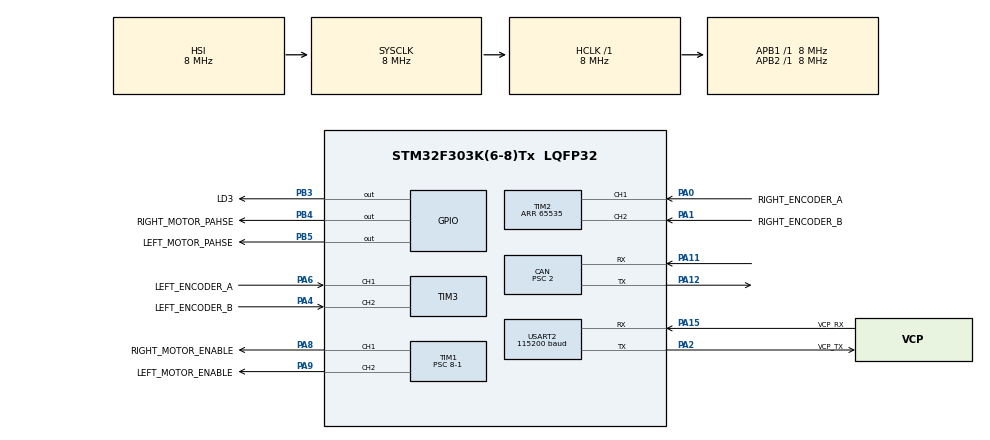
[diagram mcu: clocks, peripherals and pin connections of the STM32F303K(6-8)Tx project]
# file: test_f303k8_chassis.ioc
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Mcu.Family=STM32F3
RCC.CortexFreq_Value=8000000
PF0\ /\ OSC_IN.Mode=HSE-External-Clock-Source
NVIC.CAN_RX0_IRQn=true\:0\:0\:false\:false\:true\:true\:true
PA14.GPIO_Label=SWCLK
PA0.GPIO_Label=RIGHT_ENCODER_A
PA11.Mode=CAN_Activate
PA6.GPIO_Label=LEFT_ENCODER_A
ProjectManager.StackSize=0x400
PA15.GPIO_Label=VCP_RX
PA12.Signal=CAN_TX
CAN.Prescaler=2
TIM1.Prescaler=8-1
TIM15.Prescaler=8-1
RCC.AHBFreq_Value=8000000
RCC.HSE_VALUE=8000000
USART2.VirtualMode-Asynchronous=VM_ASYNC
PA15.Mode=Asynchronous
TIM15.Period=1000-1
TIM1.Channel-PWM\ Generation1\ CH1=TIM_CHANNEL_1
PA14.Mode=Serial_Wire
PF0\ /\ OSC_IN.GPIO_Label=MCO
PA8.Signal=S_TIM1_CH1
SH.S_TIM3_CH1.0=TIM3_CH1,Encoder_Interface
CAN.CalculateTimeQuantum=250.0
VP_TIM1_VS_ClockSourceINT.Mode=Internal
PA0.Signal=S_TIM2_CH1_ETR
Mcu.Package=LQFP32
PA6.Signal=S_TIM3_CH1
PA2.GPIO_Label=VCP_TX
PA15.Signal=USART2_RX
PB5.GPIO_Label=LEFT_MOTOR_PAHSE
TIM1.Period=1000-1
PA4.GPIO_Label=LEFT_ENCODER_B
PB4.Signal=GPIO_Output
PB3.GPIO_Label=LD3
CAN.CalculateBaudRate=400000
PA9.GPIO_Label=LEFT_MOTOR_ENABLE
USART2.BaudRate=115200
CAN.CalculateTimeBit=2500.00
PA13.Signal=SYS_JTMS-SWDIO
SH.S_TIM2_CH2.0=TIM2_CH2,Encoder_Interface
CAN.BS2=CAN_BS2_2TQ
PA8.GPIO_Label=RIGHT_MOTOR_ENABLE
CAN.BS1=CAN_BS1_7TQ
SH.S_TIM1_CH1.0=TIM1_CH1,PWM Generation1 CH1
ProjectManager.TargetToolchain=STM32CubeIDE
PA9.Signal=S_TIM1_CH2
TIM1.Channel-PWM\ Generation2\ CH2=TIM_CHANNEL_2
PA1.Signal=S_TIM2_CH2
SH.S_TIM3_CH2.0=TIM3_CH2,Encoder_Interface
NVIC.TIM1_BRK_TIM15_IRQn=true\:0\:0\:false\:false\:true\:true\:true
board=NUCLEO-F303K8
RCC.APB2Freq_Value=8000000
PF0\ /\ OSC_IN.Signal=RCC_OSC_IN
PB4.GPIO_Label=RIGHT_MOTOR_PAHSE
SH.S_TIM1_CH2.0=TIM1_CH2,PWM Generation2 CH2
PA1.GPIO_Label=RIGHT_ENCODER_B
TIM2.Period=65535
PA13.Mode=Serial_Wire
Mcu.Name=STM32F303K(6-8)Tx
PA13.GPIO_Label=SWDIO
PA2.Signal=USART2_TX
PB3.Signal=GPIO_Output
PA4.Signal=S_TIM3_CH2
RCC.SYSCLKFreq_VALUE=8000000
PB5.Signal=GPIO_Output
PA12.Mode=CAN_Activate
PA11.Signal=CAN_RX
SH.S_TIM2_CH1_ETR.0=TIM2_CH1,Encoder_Interface
VP_TIM15_VS_ClockSourceINT.Mode=Internal
PA14.Signal=SYS_JTCK-SWCLK
ProjectManager.HeapSize=0x200
RCC.HSI_VALUE=8000000
NVIC.PriorityGroup=NVIC_PRIORITYGROUP_4
PA2.Mode=Asynchronous
RCC.APB1Freq_Value=8000000

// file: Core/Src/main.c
/* USER CODE BEGIN Header */
/**
  ******************************************************************************
  * @file           : main.c
  * @brief          : Main program body
  ******************************************************************************
  * @attention
  *
  * <h2><center>&copy; Copyright (c) 2024 STMicroelectronics.
  * All rights reserved.</center></h2>
  *
  * This software component is licensed by ST under BSD 3-Clause license,
  * the "License"; You may not use this file except in compliance with the
  * License. You may obtain a copy of the License at:
  *                        opensource.org/licenses/BSD-3-Clause
  *
  ******************************************************************************
  */
/* USER CODE END Header */
#include "main.h"

/* USER CODE BEGIN Includes */
#include <stdio.h>
#include <stdlib.h>
#include <string.h>
/* USER CODE END Includes */

CAN_HandleTypeDef hcan;

TIM_HandleTypeDef htim1;
TIM_HandleTypeDef htim2;
TIM_HandleTypeDef htim3;
TIM_HandleTypeDef htim15;

UART_HandleTypeDef huart2;

/* USER CODE BEGIN PV */
uint16_t motor_count = 0;
uint16_t encoder_count = 0;
float cmd_vel[2]; // right_back, left_back

/* USER CODE END PV */

void SystemClock_Config(void);
static void MX_GPIO_Init(void);
static void MX_USART2_UART_Init(void);
static void MX_CAN_Init(void);
static void MX_TIM1_Init(void);
static void MX_TIM2_Init(void);
static void MX_TIM3_Init(void);
static void MX_TIM15_Init(void);

/* USER CODE BEGIN 0 */
void HAL_CAN_RxFifo0MsgPendingCallback(CAN_HandleTypeDef *hcan)
{
  CAN_RxHeaderTypeDef RxHeader;
  uint8_t RxData[8];
  if (HAL_CAN_GetRxMessage(hcan, CAN_RX_FIFO0, &RxHeader, RxData) == HAL_OK)
  {
    // printf("id=%#x, [0]=%#x, [1]=%#x, [2]=%#x, [3]=%#x, [4]=%#x, [5]=%#x, [6]=%#x, [7]=%#x\r\n",
    //   RxHeader.StdId, RxData[0], RxData[1], RxData[2], RxData[3], RxData[4], RxData[5], RxData[6], RxData[7]);

    if (RxHeader.StdId == 0x711)
    {
      HAL_GPIO_TogglePin(LD3_GPIO_Port, LD3_Pin);
      union {
          float f;
          int32_t ui;
      } data;
      data.ui = (int32_t) (
            (((int32_t)RxData[0] << 24) & 0xFF000000)
          | (((int32_t)RxData[1] << 16) & 0x00FF0000)
          | (((int32_t)RxData[2] <<  8) & 0x0000FF00)
          | (((int32_t)RxData[3] <<  0) & 0x000000FF)
      );
      cmd_vel[0] = data.f;
      data.ui = (int32_t) (
            (((int32_t)RxData[4] << 24) & 0xFF000000)
          | (((int32_t)RxData[5] << 16) & 0x00FF0000)
          | (((int32_t)RxData[6] <<  8) & 0x0000FF00)
          | (((int32_t)RxData[7] <<  0) & 0x000000FF)
      );
      cmd_vel[1] = data.f;

      // printf("cmd_vel: [0]=%f, [1]=%f\r\n", cmd_vel[0], cmd_vel[1]);
    }
  }
}

int16_t read_tim2_encoder_value()
{
  uint16_t enc_buff = TIM2->CNT;
  int16_t enc_count = (int16_t)enc_buff - 32767;
  TIM2->CNT = 32767;
  return enc_count;
}

int16_t read_tim3_encoder_value()
{
  uint16_t enc_buff = TIM3->CNT;
  int16_t enc_count = (int16_t)enc_buff - 32767;
  TIM3->CNT = 32767;
  return enc_count;
}

void HAL_TIM_PeriodElapsedCallback(TIM_HandleTypeDef *htim)
{
  if (htim == &htim15)
  {
    // ---encoder
    encoder_count++;
    if (encoder_count > 200) // 5Hz
    {
      encoder_count = 0;
      int16_t encoder_value;
      encoder_value = read_tim2_encoder_value();
      // printf("enc_buff: %d\r\n", encoder_value);
      printf("right_front_vel(deg/s): %f\r\n", (float)encoder_value * 1.20321); // 1:34
      encoder_value = read_tim3_encoder_value();
      // printf("enc_buff: %d\r\n", encoder_value);
      printf("left_front_vel(deg/s): %f\r\n", (float)encoder_value * 1.20321); // 1:34
    }

    // ---motor
    motor_count++;
    if (motor_count > 50) // 20Hz
    {
      motor_count = 0;
      // right_back
      uint16_t right_output;
      if (cmd_vel[0] > 0)
      {
        right_output = (uint16_t)(30.0 * cmd_vel[0]);
        HAL_GPIO_WritePin(RIGHT_MOTOR_PAHSE_GPIO_Port, RIGHT_MOTOR_PAHSE_Pin, GPIO_PIN_SET);
      }
      else
      {
        right_output = (uint16_t)(-30.0 * cmd_vel[0]);
        HAL_GPIO_WritePin(RIGHT_MOTOR_PAHSE_GPIO_Port, RIGHT_MOTOR_PAHSE_Pin, GPIO_PIN_RESET);
      }
      __HAL_TIM_SET_COMPARE(&htim1, TIM_CHANNEL_1, right_output);
      HAL_TIM_PWM_Start(&htim1, TIM_CHANNEL_1);
      printf("right_output: %d\r\n", right_output);

      // left_back
      uint16_t left_output;
      if (cmd_vel[1] > 0)
      {
        left_output = (uint16_t)(30.0 * cmd_vel[1]);
        HAL_GPIO_WritePin(LEFT_MOTOR_PAHSE_GPIO_Port, LEFT_MOTOR_PAHSE_Pin, GPIO_PIN_SET);
      }
      else
      {
        left_output = (uint16_t)(-30.0 * cmd_vel[1]);
        HAL_GPIO_WritePin(LEFT_MOTOR_PAHSE_GPIO_Port, LEFT_MOTOR_PAHSE_Pin, GPIO_PIN_RESET);
      }
      __HAL_TIM_SET_COMPARE(&htim1, TIM_CHANNEL_2, left_output);
      HAL_TIM_PWM_Start(&htim1, TIM_CHANNEL_2);
      printf("left_output: %d\r\n", left_output);
    }
  }
}

/* USER CODE END 0 */

int main(void)
{
  /* USER CODE BEGIN 1 */
  setbuf(stdout, NULL);
  /* USER CODE END 1 */

  /* MCU Configuration--------------------------------------------------------*/

  /* Reset of all peripherals, Initializes the Flash interface and the Systick. */
  HAL_Init();

  /* Configure the system clock */
  SystemClock_Config();

  /* Initialize all configured peripherals */
  MX_GPIO_Init();
  MX_USART2_UART_Init();
  MX_CAN_Init();
  MX_TIM1_Init();
  MX_TIM2_Init();
  MX_TIM3_Init();
  MX_TIM15_Init();
  /* USER CODE BEGIN 2 */
  HAL_TIM_Base_Start_IT(&htim15);
  HAL_TIM_Encoder_Start(&htim2, TIM_CHANNEL_ALL);
  HAL_TIM_Encoder_Start(&htim3, TIM_CHANNEL_ALL);
  HAL_CAN_Start(&hcan);
  if (HAL_CAN_ActivateNotification(&hcan, CAN_IT_RX_FIFO0_MSG_PENDING) != HAL_OK)
  {
    Error_Handler();
  }

  /* USER CODE END 2 */

  /* Infinite loop */
  while (1)
  {

    /* USER CODE BEGIN 3 */
    // printf("Hello!!\r\n");
    HAL_GPIO_TogglePin(LD3_GPIO_Port, LD3_Pin);
    HAL_Delay(50);
  }
  /* USER CODE END 3 */
}

void SystemClock_Config(void)
{
  RCC_OscInitTypeDef RCC_OscInitStruct = {0};
  RCC_ClkInitTypeDef RCC_ClkInitStruct = {0};
  RCC_PeriphCLKInitTypeDef PeriphClkInit = {0};

  /** Initializes the RCC Oscillators according to the specified parameters
  * in the RCC_OscInitTypeDef structure.
  */
  RCC_OscInitStruct.OscillatorType = RCC_OSCILLATORTYPE_HSI;
  RCC_OscInitStruct.HSIState = RCC_HSI_ON;
  RCC_OscInitStruct.HSICalibrationValue = RCC_HSICALIBRATION_DEFAULT;
  RCC_OscInitStruct.PLL.PLLState = RCC_PLL_NONE;
  if (HAL_RCC_OscConfig(&RCC_OscInitStruct) != HAL_OK)
  {
    Error_Handler();
  }
  /** Initializes the CPU, AHB and APB buses clocks
  */
  RCC_ClkInitStruct.ClockType = RCC_CLOCKTYPE_HCLK|RCC_CLOCKTYPE_SYSCLK
                              |RCC_CLOCKTYPE_PCLK1|RCC_CLOCKTYPE_PCLK2;
  RCC_ClkInitStruct.SYSCLKSource = RCC_SYSCLKSOURCE_HSI;
  RCC_ClkInitStruct.AHBCLKDivider = RCC_SYSCLK_DIV1;
  RCC_ClkInitStruct.APB1CLKDivider = RCC_HCLK_DIV1;
  RCC_ClkInitStruct.APB2CLKDivider = RCC_HCLK_DIV1;

  if (HAL_RCC_ClockConfig(&RCC_ClkInitStruct, FLASH_LATENCY_0) != HAL_OK)
  {
    Error_Handler();
  }
  PeriphClkInit.PeriphClockSelection = RCC_PERIPHCLK_TIM1;
  PeriphClkInit.Tim1ClockSelection = RCC_TIM1CLK_HCLK;
  if (HAL_RCCEx_PeriphCLKConfig(&PeriphClkInit) != HAL_OK)
  {
    Error_Handler();
  }
}

static void MX_CAN_Init(void)
{

  hcan.Instance = CAN;
  hcan.Init.Prescaler = 2;
  hcan.Init.Mode = CAN_MODE_NORMAL;
  hcan.Init.SyncJumpWidth = CAN_SJW_1TQ;
  hcan.Init.TimeSeg1 = CAN_BS1_7TQ;
  hcan.Init.TimeSeg2 = CAN_BS2_2TQ;
  hcan.Init.TimeTriggeredMode = DISABLE;
  hcan.Init.AutoBusOff = DISABLE;
  hcan.Init.AutoWakeUp = DISABLE;
  hcan.Init.AutoRetransmission = DISABLE;
  hcan.Init.ReceiveFifoLocked = DISABLE;
  hcan.Init.TransmitFifoPriority = DISABLE;
  if (HAL_CAN_Init(&hcan) != HAL_OK)
  {
    Error_Handler();
  }
  /* USER CODE BEGIN CAN_Init 2 */
  CAN_FilterTypeDef  filter;
  uint32_t fId = 0x710 << 21;
  uint32_t fMask = (0x7F0 << 21) | 0x4;

  filter.FilterIdHigh         = fId >> 16;
  filter.FilterIdLow          = fId;
  filter.FilterMaskIdHigh     = fMask >> 16;
  filter.FilterMaskIdLow      = fMask;
  filter.FilterScale          = CAN_FILTERSCALE_32BIT;
  filter.FilterFIFOAssignment = CAN_FILTER_FIFO0;
  filter.FilterBank           = 0;
  filter.FilterMode           = CAN_FILTERMODE_IDMASK;
  filter.SlaveStartFilterBank = 14;
  filter.FilterActivation     = ENABLE;

  if (HAL_CAN_ConfigFilter(&hcan, &filter) != HAL_OK)
  {
    Error_Handler();
  }
  /* USER CODE END CAN_Init 2 */

}

static void MX_TIM1_Init(void)
{

  TIM_ClockConfigTypeDef sClockSourceConfig = {0};
  TIM_MasterConfigTypeDef sMasterConfig = {0};
  TIM_OC_InitTypeDef sConfigOC = {0};
  TIM_BreakDeadTimeConfigTypeDef sBreakDeadTimeConfig = {0};

  htim1.Instance = TIM1;
  htim1.Init.Prescaler = 8-1;
  htim1.Init.CounterMode = TIM_COUNTERMODE_UP;
  htim1.Init.Period = 1000-1;
  htim1.Init.ClockDivision = TIM_CLOCKDIVISION_DIV1;
  htim1.Init.RepetitionCounter = 0;
  htim1.Init.AutoReloadPreload = TIM_AUTORELOAD_PRELOAD_DISABLE;
  if (HAL_TIM_Base_Init(&htim1) != HAL_OK)
  {
    Error_Handler();
  }
  sClockSourceConfig.ClockSource = TIM_CLOCKSOURCE_INTERNAL;
  if (HAL_TIM_ConfigClockSource(&htim1, &sClockSourceConfig) != HAL_OK)
  {
    Error_Handler();
  }
  if (HAL_TIM_PWM_Init(&htim1) != HAL_OK)
  {
    Error_Handler();
  }
  sMasterConfig.MasterOutputTrigger = TIM_TRGO_RESET;
  sMasterConfig.MasterOutputTrigger2 = TIM_TRGO2_RESET;
  sMasterConfig.MasterSlaveMode = TIM_MASTERSLAVEMODE_DISABLE;
  if (HAL_TIMEx_MasterConfigSynchronization(&htim1, &sMasterConfig) != HAL_OK)
  {
    Error_Handler();
  }
  sConfigOC.OCMode = TIM_OCMODE_PWM1;
  sConfigOC.Pulse = 0;
  sConfigOC.OCPolarity = TIM_OCPOLARITY_HIGH;
  sConfigOC.OCNPolarity = TIM_OCNPOLARITY_HIGH;
  sConfigOC.OCFastMode = TIM_OCFAST_DISABLE;
  sConfigOC.OCIdleState = TIM_OCIDLESTATE_RESET;
  sConfigOC.OCNIdleState = TIM_OCNIDLESTATE_RESET;
  if (HAL_TIM_PWM_ConfigChannel(&htim1, &sConfigOC, TIM_CHANNEL_1) != HAL_OK)
  {
    Error_Handler();
  }
  if (HAL_TIM_PWM_ConfigChannel(&htim1, &sConfigOC, TIM_CHANNEL_2) != HAL_OK)
  {
    Error_Handler();
  }
  sBreakDeadTimeConfig.OffStateRunMode = TIM_OSSR_DISABLE;
  sBreakDeadTimeConfig.OffStateIDLEMode = TIM_OSSI_DISABLE;
  sBreakDeadTimeConfig.LockLevel = TIM_LOCKLEVEL_OFF;
  sBreakDeadTimeConfig.DeadTime = 0;
  sBreakDeadTimeConfig.BreakState = TIM_BREAK_DISABLE;
  sBreakDeadTimeConfig.BreakPolarity = TIM_BREAKPOLARITY_HIGH;
  sBreakDeadTimeConfig.BreakFilter = 0;
  sBreakDeadTimeConfig.Break2State = TIM_BREAK2_DISABLE;
  sBreakDeadTimeConfig.Break2Polarity = TIM_BREAK2POLARITY_HIGH;
  sBreakDeadTimeConfig.Break2Filter = 0;
  sBreakDeadTimeConfig.AutomaticOutput = TIM_AUTOMATICOUTPUT_DISABLE;
  if (HAL_TIMEx_ConfigBreakDeadTime(&htim1, &sBreakDeadTimeConfig) != HAL_OK)
  {
    Error_Handler();
  }
  HAL_TIM_MspPostInit(&htim1);

}

static void MX_TIM2_Init(void)
{

  TIM_Encoder_InitTypeDef sConfig = {0};
  TIM_MasterConfigTypeDef sMasterConfig = {0};

  htim2.Instance = TIM2;
  htim2.Init.Prescaler = 0;
  htim2.Init.CounterMode = TIM_COUNTERMODE_UP;
  htim2.Init.Period = 65535;
  htim2.Init.ClockDivision = TIM_CLOCKDIVISION_DIV1;
  htim2.Init.AutoReloadPreload = TIM_AUTORELOAD_PRELOAD_DISABLE;
  sConfig.EncoderMode = TIM_ENCODERMODE_TI1;
  sConfig.IC1Polarity = TIM_ICPOLARITY_RISING;
  sConfig.IC1Selection = TIM_ICSELECTION_DIRECTTI;
  sConfig.IC1Prescaler = TIM_ICPSC_DIV1;
  sConfig.IC1Filter = 0;
  sConfig.IC2Polarity = TIM_ICPOLARITY_RISING;
  sConfig.IC2Selection = TIM_ICSELECTION_DIRECTTI;
  sConfig.IC2Prescaler = TIM_ICPSC_DIV1;
  sConfig.IC2Filter = 0;
  if (HAL_TIM_Encoder_Init(&htim2, &sConfig) != HAL_OK)
  {
    Error_Handler();
  }
  sMasterConfig.MasterOutputTrigger = TIM_TRGO_RESET;
  sMasterConfig.MasterSlaveMode = TIM_MASTERSLAVEMODE_DISABLE;
  if (HAL_TIMEx_MasterConfigSynchronization(&htim2, &sMasterConfig) != HAL_OK)
  {
    Error_Handler();
  }

}

static void MX_TIM3_Init(void)
{

  TIM_Encoder_InitTypeDef sConfig = {0};
  TIM_MasterConfigTypeDef sMasterConfig = {0};

  htim3.Instance = TIM3;
  htim3.Init.Prescaler = 0;
  htim3.Init.CounterMode = TIM_COUNTERMODE_UP;
  htim3.Init.Period = 65535;
  htim3.Init.ClockDivision = TIM_CLOCKDIVISION_DIV1;
  htim3.Init.AutoReloadPreload = TIM_AUTORELOAD_PRELOAD_DISABLE;
  sConfig.EncoderMode = TIM_ENCODERMODE_TI1;
  sConfig.IC1Polarity = TIM_ICPOLARITY_RISING;
  sConfig.IC1Selection = TIM_ICSELECTION_DIRECTTI;
  sConfig.IC1Prescaler = TIM_ICPSC_DIV1;
  sConfig.IC1Filter = 0;
  sConfig.IC2Polarity = TIM_ICPOLARITY_RISING;
  sConfig.IC2Selection = TIM_ICSELECTION_DIRECTTI;
  sConfig.IC2Prescaler = TIM_ICPSC_DIV1;
  sConfig.IC2Filter = 0;
  if (HAL_TIM_Encoder_Init(&htim3, &sConfig) != HAL_OK)
  {
    Error_Handler();
  }
  sMasterConfig.MasterOutputTrigger = TIM_TRGO_RESET;
  sMasterConfig.MasterSlaveMode = TIM_MASTERSLAVEMODE_DISABLE;
  if (HAL_TIMEx_MasterConfigSynchronization(&htim3, &sMasterConfig) != HAL_OK)
  {
    Error_Handler();
  }

}

static void MX_TIM15_Init(void)
{

  TIM_ClockConfigTypeDef sClockSourceConfig = {0};
  TIM_MasterConfigTypeDef sMasterConfig = {0};

  htim15.Instance = TIM15;
  htim15.Init.Prescaler = 8-1;
  htim15.Init.CounterMode = TIM_COUNTERMODE_UP;
  htim15.Init.Period = 1000-1;
  htim15.Init.ClockDivision = TIM_CLOCKDIVISION_DIV1;
  htim15.Init.RepetitionCounter = 0;
  htim15.Init.AutoReloadPreload = TIM_AUTORELOAD_PRELOAD_DISABLE;
  if (HAL_TIM_Base_Init(&htim15) != HAL_OK)
  {
    Error_Handler();
  }
  sClockSourceConfig.ClockSource = TIM_CLOCKSOURCE_INTERNAL;
  if (HAL_TIM_ConfigClockSource(&htim15, &sClockSourceConfig) != HAL_OK)
  {
    Error_Handler();
  }
  sMasterConfig.MasterOutputTrigger = TIM_TRGO_RESET;
  sMasterConfig.MasterSlaveMode = TIM_MASTERSLAVEMODE_DISABLE;
  if (HAL_TIMEx_MasterConfigSynchronization(&htim15, &sMasterConfig) != HAL_OK)
  {
    Error_Handler();
  }

}

static void MX_USART2_UART_Init(void)
{

  huart2.Instance = USART2;
  huart2.Init.BaudRate = 115200;
  huart2.Init.WordLength = UART_WORDLENGTH_8B;
  huart2.Init.StopBits = UART_STOPBITS_1;
  huart2.Init.Parity = UART_PARITY_NONE;
  huart2.Init.Mode = UART_MODE_TX_RX;
  huart2.Init.HwFlowCtl = UART_HWCONTROL_NONE;
  huart2.Init.OverSampling = UART_OVERSAMPLING_16;
  huart2.Init.OneBitSampling = UART_ONE_BIT_SAMPLE_DISABLE;
  huart2.AdvancedInit.AdvFeatureInit = UART_ADVFEATURE_NO_INIT;
  if (HAL_UART_Init(&huart2) != HAL_OK)
  {
    Error_Handler();
  }

}

static void MX_GPIO_Init(void)
{
  GPIO_InitTypeDef GPIO_InitStruct = {0};

  /* GPIO Ports Clock Enable */
  __HAL_RCC_GPIOF_CLK_ENABLE();
  __HAL_RCC_GPIOA_CLK_ENABLE();
  __HAL_RCC_GPIOB_CLK_ENABLE();

  /*Configure GPIO pin Output Level */
  HAL_GPIO_WritePin(GPIOB, LD3_Pin|RIGHT_MOTOR_PAHSE_Pin|LEFT_MOTOR_PAHSE_Pin, GPIO_PIN_RESET);

  /*Configure GPIO pins : LD3_Pin RIGHT_MOTOR_PAHSE_Pin LEFT_MOTOR_PAHSE_Pin */
  GPIO_InitStruct.Pin = LD3_Pin|RIGHT_MOTOR_PAHSE_Pin|LEFT_MOTOR_PAHSE_Pin;
  GPIO_InitStruct.Mode = GPIO_MODE_OUTPUT_PP;
  GPIO_InitStruct.Pull = GPIO_NOPULL;
  GPIO_InitStruct.Speed = GPIO_SPEED_FREQ_LOW;
  HAL_GPIO_Init(GPIOB, &GPIO_InitStruct);

}

/* USER CODE BEGIN 4 */
int _write(int file, char *ptr, int len)
{
  HAL_UART_Transmit(&huart2,(uint8_t *)ptr,len,10);
  return len;
}
/* USER CODE END 4 */

void Error_Handler(void)
{
  __disable_irq();
  while (1)
  {
  }
}

/************************ (C) COPYRIGHT STMicroelectronics *****END OF FILE****/
